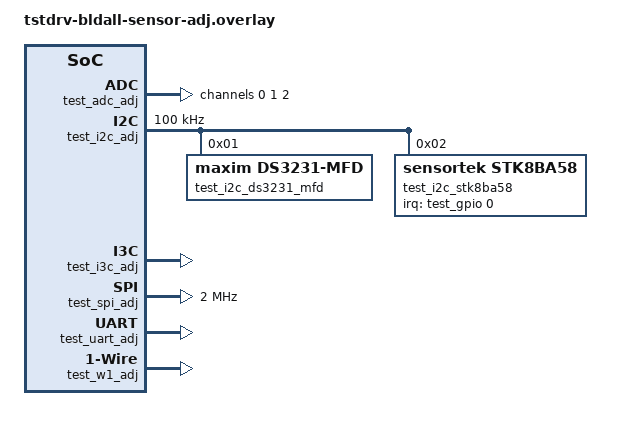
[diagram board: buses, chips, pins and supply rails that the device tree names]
/*
 * Copyright (c) 2024-2025 TiaC Systems
 *
 * SPDX-License-Identifier: Apache-2.0
 *
 * Snipped overlay for testing driver builds
 *
 * Names in this file should be chosen in a way that won't conflict
 * with real-world devicetree nodes, to allow these tests to run on
 * (and be extended to test) real hardware.
 */

#include <zephyr/dt-bindings/sensor/stk8ba58.h>

/ {
	test: test {};
};

&test {
	test_adc_adj: adc@fadedead {
		compatible = "vnd,adc";
		status = "okay";
		reg = <0xfadedead 0x1000>;
		#io-channel-cells = <1>;
		#address-cells = <1>;
		#size-cells = <0>;

		channel@0 {
			reg = <0>;
			zephyr,gain = "ADC_GAIN_1";
			zephyr,reference = "ADC_REF_VDD_1";
			zephyr,acquisition-time = <ADC_ACQ_TIME_DEFAULT>;
			zephyr,input-positive = <0>;
			zephyr,resolution = <12>;
		};

		channel@1 {
			reg = <1>;
			zephyr,gain = "ADC_GAIN_1_6";
			zephyr,reference = "ADC_REF_INTERNAL";
			zephyr,acquisition-time = <ADC_ACQ_TIME_DEFAULT>;
			zephyr,input-positive = <0>;
			zephyr,resolution = <12>;
		};

		channel@2 {
			reg = <2>;
			zephyr,gain = "ADC_GAIN_1_6";
			zephyr,reference = "ADC_REF_INTERNAL";
			zephyr,acquisition-time = <ADC_ACQ_TIME_DEFAULT>;
			zephyr,input-positive = <0>;
			zephyr,resolution = <12>;
		};
	};

	test_gpio_adj: gpio@feedface {
		compatible = "vnd,gpio";
		status = "okay";
		reg = <0xfeedface 0x1000>;
		gpio-controller;
		#gpio-cells = <0x2>;
	};

	test_i2c_adj: i2c@aaaabbbb {
		compatible = "zephyr,i2c-emul-controller";
		status = "okay";
		reg = <0xaaaabbbb 0x1000>;
		#address-cells = <1>;
		#size-cells = <0>;
		clock-frequency = <100000>;

		test_i2c_ds3231_mfd: ds3231-mfd@1 {
			compatible = "maxim,ds3231-mfd";
			status = "okay";
			reg = <0x1>;

			test_i2c_ds3231_sensor: ds3231-sensor {
				compatible = "maxim,ds3231-sensor";
				status = "okay";
			};
		};

		test_i2c_stk8ba58: stk8ba58@2 {
			compatible = "sensortek,stk8ba58";
			status = "okay";
			reg = <0x2>;

			irq-gpios = <&test_gpio 0 0>;

			power-mode = <STK8BA58_DT_LOW_POWER_4ms>;
			odr = <STK8BA58_DT_ODR_125Hz>;
			range = <4>;
		};
	};

	test_i3c_adj: i3c@bbbbaaaa {
		compatible = "vnd,i3c";
		status = "okay";
		reg = <0xbbbbaaaa 0x1000>;
		#address-cells = <3>;
		#size-cells = <0>;
	};

	test_spi_adj: spi@ccccdddd {
		compatible = "zephyr,spi-emul-controller";
		status = "okay";
		reg = <0xccccdddd 0x1000>;
		#address-cells = <1>;
		#size-cells = <0>;
		clock-frequency = <2000000>;

		/* one entry for every devices */
		/* cs-gpios = <&test_gpio_adj 0 0>; */
	};

	test_uart_adj: uart@eeeeffff {
		compatible = "vnd,serial";
		status = "okay";
		reg = <0xeeeeffff 0x1000>;
	};

	test_w1_adj: w1@ffffeeee {
		compatible = "vnd,w1";
		status = "okay";
		reg = <0xffffeeee 0x1000>;
	};
};
